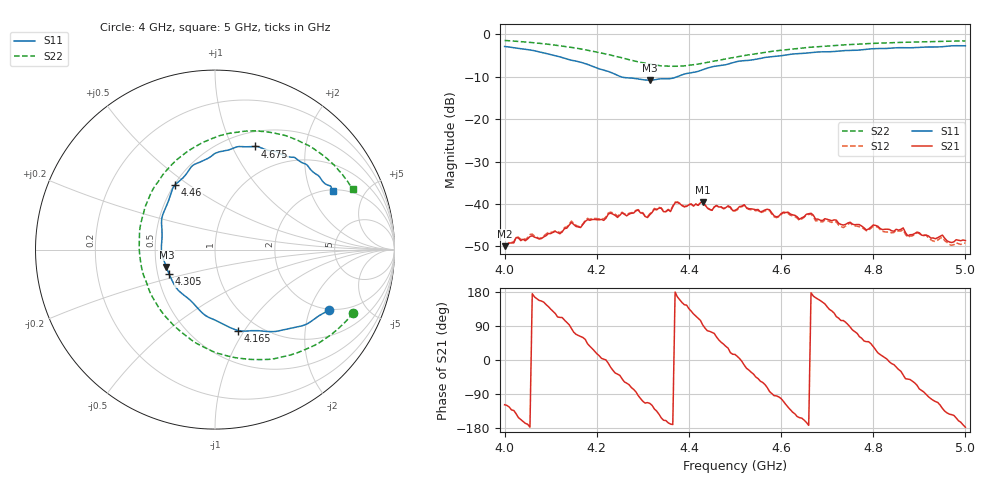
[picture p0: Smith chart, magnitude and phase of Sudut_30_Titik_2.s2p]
# Hz S RI R 50
! CMT, C1220, 16058040, 17.2.0/1
! Date: 15/08/2018 11:39:53
! Data: Format (Calibration Info)
! Freq  S11: Re/Im (F2)  S21: Re/Im (F2)  S12: Re/Im (F2)  S22: Re/Im (F2)
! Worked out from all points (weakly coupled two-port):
!   201 points, 4 GHz to 5 GHz, reference 50 ohm
!   highest |S21| = -39.53 dB at 4.43 GHz (marker M1); lowest = -50.0 dB at 4 GHz (marker M2)
!   lowest |S11| = -10.8 dB at 4.315 GHz (marker M3), VSWR 1.81, Z = 28.2 - j5.98 ohm
!   |S11| at or under -10 dB: 4.253 GHz to 4.374 GHz (121.8 MHz wide, 2.82 % of centre)
!   |S22| runs from -7.5 to -1.4 dB; largest |S21 - S12| = 0.00039
!   S11 on the Smith chart (normalised r, x): 4 GHz: 1.97, -2.74; 4.165 GHz: 0.81, -0.94; 4.305 GHz: 0.57, -0.17; 4.46 GHz: 0.51, +0.44; 4.675 GHz: 0.66, +1.23; 5 GHz: 2.04, +2.90
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4e9  0.6366 -0.3355  -0.00149 -0.0028  -0.00139 -0.00297  0.7699 -0.3535
4.025e9  0.5827 -0.3666  -0.00316 -0.00247  -0.00306 -0.00266  0.722 -0.4072
4.12e9  0.2935 -0.4567  -0.00169 0.00412  -0.00188 0.00417  0.4544 -0.5764
4.145e9  0.2043 -0.4515  0.000713 0.00601  0.000606 0.00626  0.3607 -0.6006
4.165e9  0.1297 -0.4511  0.00247 0.00466  0.00247 0.00474  0.2807 -0.6124
4.17e9  0.1138 -0.4464  0.00293 0.00494  0.0029 0.00506  0.2598 -0.6128
4.23e9  -0.0747 -0.3491  0.00737 -0.00253  0.0076 -0.00249  -0.00545 -0.5701
4.29e9  -0.232 -0.1864  -0.000599 -0.00845  -0.000648 -0.00854  -0.2473 -0.404
4.305e9  -0.2553 -0.1365  -0.00287 -0.00651  -0.00285 -0.00661  -0.2951 -0.3491
4.315e9  -0.2712 -0.0972  -0.00309 -0.00677  -0.0032 -0.00696  -0.3239 -0.306
4.335e9  -0.296 -0.0307  -0.00716 -0.00539  -0.00734 -0.00538  -0.3713 -0.2145
4.36e9  -0.2958 0.0557  -0.00799 -0.00156  -0.00817 -0.00149  -0.4105 -0.093
4.43e9  -0.2538 0.2863  -0.000472 0.0105  -0.00029 0.0105  -0.387 0.2435
4.45e9  -0.2361 0.3405  0.00247 0.00804  0.00263 0.00799  -0.3513 0.3252
4.46e9  -0.2226 0.3597  0.0047 0.00833  0.00493 0.00819  -0.3277 0.3636
4.5e9  -0.1399 0.45  0.00813 0.00214  0.00802 0.00197  -0.2245 0.489
4.52e9  -0.1095 0.4772  0.00952 -0.00228  0.00936 -0.00239  -0.1671 0.5361
4.59e9  0.0476 0.549  -0.000578 -0.00702  -0.000599 -0.00687  0.0424 0.639
4.67e9  0.2146 0.5742  -0.00722 0.00144  -0.00688 0.00149  0.2616 0.6581
4.675e9  0.2229 0.5748  -0.00638 0.00179  -0.00604 0.00186  0.2739 0.658
4.835e9  0.4839 0.4848  0.00499 -0.000422  0.00467 -0.000324  0.5883 0.5352
5e9  0.6557 0.3281  -0.00369 -0.000163  -0.00343 -0.000302  0.7674 0.3351
